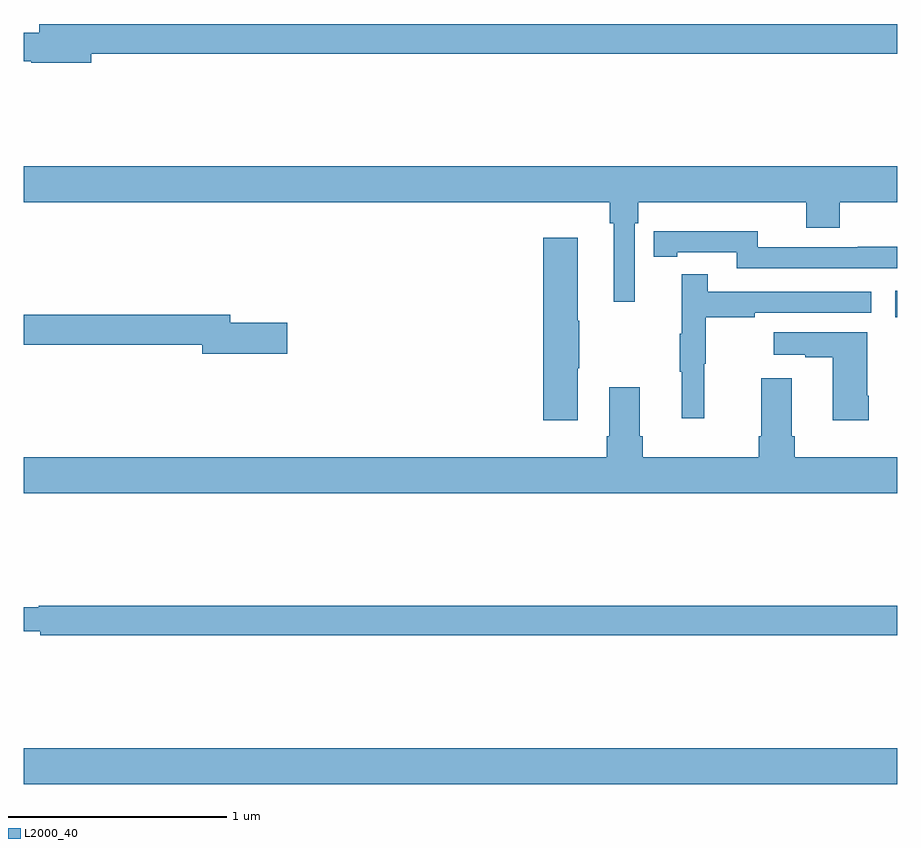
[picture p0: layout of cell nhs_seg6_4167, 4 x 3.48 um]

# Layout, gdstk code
import gdstk
lib = gdstk.Library(unit=1e-6, precision=1e-09)
def R(c, l, rs):  # rectangles x0, y0, x1, y1
    for r in rs: c.add(gdstk.rectangle(r[:2], r[2:], *l))
def P(c, l, *ps):  # polygons
    for p in ps: c.add(gdstk.Polygon(p, *l))
L2000_40 = (2000, 40)

nhs_seg6_4167 = lib.new_cell('nhs_seg6_4167')
R(nhs_seg6_4167, L2000_40, [(357,946.004,361,946.168), (360.99,948.141,361,948.262)])
P(nhs_seg6_4167, L2000_40, [(357.31,949.348),(361,949.348),(361,949.484),(357.071,949.484),(357.071,949.443),(357,949.443),(357,949.313),(357.034,949.313),(357.034,949.306),(357.31,949.306)],
  [(359.799,948.572),(359.813,948.572),(359.813,948.668),(360.584,948.668),(360.584,948.551),(360.737,948.551),(360.737,948.668),(361,948.668),(361,948.832),(357,948.832),(357,948.668),(359.683,948.668),(359.683,948.572),(359.702,948.572),(359.702,948.213),(359.799,948.213)],
  [(361,948.464),(360.82,948.464),(360.82,948.462),(360.36,948.462),(360.36,948.535),(359.992,948.535),(359.992,948.534),(359.884,948.534),(359.884,948.418),(359.992,948.418),(359.992,948.438),(360.264,948.438),(360.264,948.366),(361,948.366)],
  [(359.536,947.908),(359.544,947.908),(359.544,948.125),(359.536,948.125),(359.536,948.505),(359.378,948.505),(359.378,947.67),(359.536,947.67)],
  [(360.116,947.928),(360.124,947.928),(360.124,948.142),(360.347,948.142),(360.347,948.162),(360.88,948.162),(360.88,948.258),(360.131,948.258),(360.131,948.337),(360.014,948.337),(360.014,948.065),(360.003,948.065),(360.003,947.891),(360.014,947.891),(360.014,947.679),(360.116,947.679)],
  [(358.207,948.116),(357.946,948.116),(357.946,948.152),(357,948.152),(357,948.016),(357.818,948.016),(357.818,947.974),(358.207,947.974)],
  [(360.87,947.782),(360.862,947.782),(360.862,948.073),(360.435,948.073),(360.435,947.969),(360.578,947.969),(360.578,947.959),(360.704,947.959),(360.704,947.67),(360.87,947.67)],
  [(361,947.5),(360.53,947.5),(360.53,947.596),(360.517,947.596),(360.517,947.863),(360.377,947.863),(360.377,947.596),(360.365,947.596),(360.365,947.5),(359.834,947.5),(359.834,947.596),(359.821,947.596),(359.821,947.821),(359.681,947.821),(359.681,947.596),(359.669,947.596),(359.669,947.5),(357,947.5),(357,947.336),(361,947.336)],
  [(361,946.82),(357.068,946.82),(357.068,946.813),(357,946.813),(357,946.703),(357.076,946.703),(357.076,946.684),(361,946.684)])

lib.write_gds('nhs_seg6_4167.gds')
